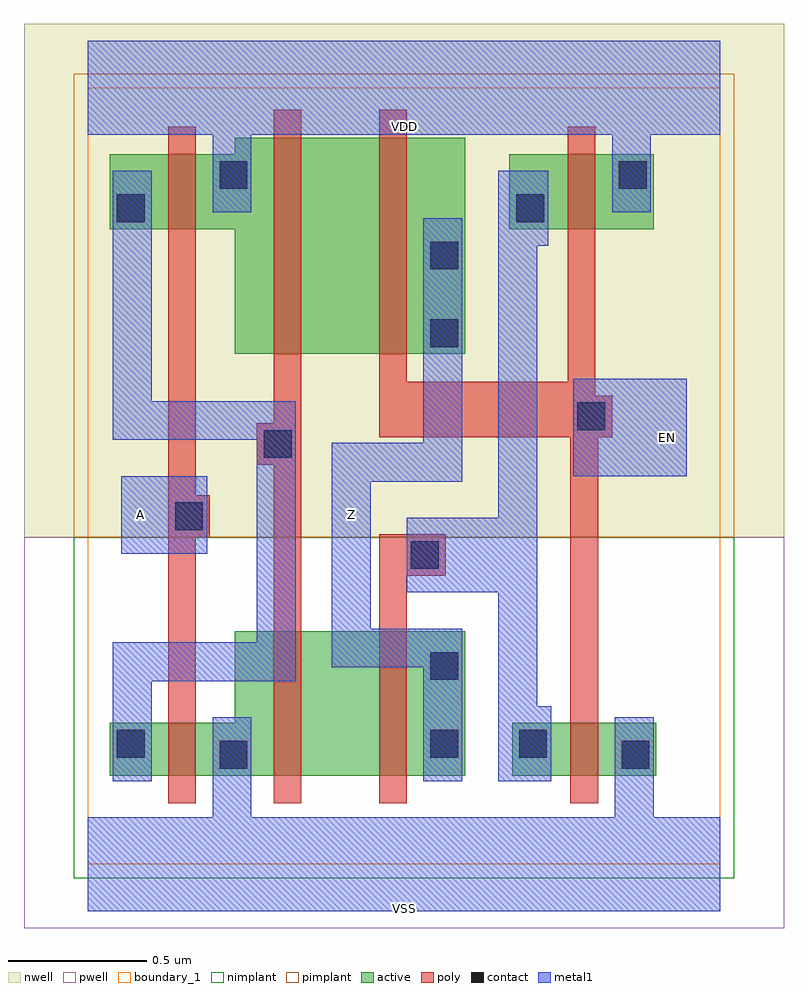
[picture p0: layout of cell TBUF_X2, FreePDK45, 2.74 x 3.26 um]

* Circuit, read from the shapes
.subckt TBUF_X2 A EN VDD VSS Z
M1 VSS A n1 VSUBS nfet w=0.19u l=0.1u
M2 n2 n1 VSS VSUBS nfet w=0.52u l=0.1u
M3 Z n3 n2 VSUBS nfet w=0.52u l=0.1u
M4 VSS EN n3 VSUBS nfet w=0.19u l=0.1u
M5 VDD A n1 n4 pfet w=0.27u l=0.1u
M6 n5 n1 VDD n4 pfet w=0.78u l=0.1u
M7 Z EN n5 n4 pfet w=0.78u l=0.1u
M8 VDD EN n3 n4 pfet w=0.27u l=0.1u
.ends

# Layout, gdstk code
import gdstk
lib = gdstk.Library(unit=1e-6, precision=1e-09)
def R(c, l, rs):  # rectangles x0, y0, x1, y1
    for r in rs: c.add(gdstk.rectangle(r[:2], r[2:], *l))
def P(c, l, *ps):  # polygons
    for p in ps: c.add(gdstk.Polygon(p, *l))
active = (1, 0)
pwell = (2, 0)
nwell = (3, 0)
nimplant = (4, 0)
pimplant = (5, 0)
poly = (9, 0)
contact = (10, 0)
metal1 = (11, 0)
boundary_1 = (235, 1)

tbuf_x2 = lib.new_cell('TBUF_X2')
R(tbuf_x2, active, [(1.53,0.32,2.05,0.51), (1.52,2.29,2.04,2.56)])
P(tbuf_x2, active, [(0.08,2.29),(0.53,2.29),(0.53,1.84),(1.36,1.84),(1.36,2.62),(0.53,2.62),(0.53,2.56),(0.08,2.56)],
  [(0.08,0.32),(1.36,0.32),(1.36,0.84),(0.53,0.84),(0.53,0.51),(0.08,0.51)])
R(tbuf_x2, pwell, [(-0.23,-0.23,2.51,1.18)])
R(tbuf_x2, nwell, [(-0.23,1.18,2.51,3.03)])
R(tbuf_x2, nimplant, [(-0.05,-0.05,2.33,1.18)])
R(tbuf_x2, pimplant, [(-0.05,1.18,2.33,2.85)])
P(tbuf_x2, poly, [(1.05,1.54),(1.74,1.54),(1.74,0.22),(1.84,0.22),(1.84,1.54),(1.89,1.54),(1.89,1.69),(1.83,1.69),(1.83,2.66),(1.73,2.66),(1.73,1.74),(1.15,1.74),(1.15,2.72),(1.05,2.72)],
  [(1.05,0.22),(1.15,0.22),(1.15,1.04),(1.29,1.04),(1.29,1.19),(1.05,1.19)],
  [(0.61,1.44),(0.67,1.44),(0.67,0.22),(0.77,0.22),(0.77,2.72),(0.67,2.72),(0.67,1.59),(0.61,1.59)],
  [(0.29,0.22),(0.39,0.22),(0.39,1.18),(0.44,1.18),(0.44,1.33),(0.39,1.33),(0.39,2.66),(0.29,2.66)])
R(tbuf_x2, contact, [(0.475,0.345,0.575,0.445), (1.925,0.345,2.025,0.445), (0.105,0.385,0.205,0.485), (1.235,0.385,1.335,0.485), (1.555,0.385,1.655,0.485), (1.235,0.665,1.335,0.765), (1.165,1.065,1.265,1.165), (0.315,1.205,0.415,1.305), (0.635,1.465,0.735,1.565), (1.765,1.565,1.865,1.665), (1.235,1.865,1.335,1.965), (1.235,2.145,1.335,2.245), (0.105,2.315,0.205,2.415), (1.545,2.315,1.645,2.415), (0.475,2.435,0.575,2.535), (1.915,2.435,2.015,2.535)])
R(tbuf_x2, metal1, [(0.12,1.12,0.43,1.4), (0.12,1.12,0.43,1.4), (1.75,1.4,2.16,1.75), (1.75,1.4,2.16,1.75)])
P(tbuf_x2, metal1, [(0,-0.17),(2.28,-0.17),(2.28,0.17),(2.04,0.17),(2.04,0.53),(1.9,0.53),(1.9,0.17),(0.59,0.17),(0.59,0.53),(0.45,0.53),(0.45,0.17),(0,0.17)],
  [(0,2.63),(0.45,2.63),(0.45,2.35),(0.59,2.35),(0.59,2.63),(1.89,2.63),(1.89,2.35),(2.03,2.35),(2.03,2.63),(2.28,2.63),(2.28,2.97),(0,2.97)],
  [(1.02,1.38),(1.35,1.38),(1.35,2.33),(1.21,2.33),(1.21,1.52),(0.88,1.52),(0.88,0.71),(1.21,0.71),(1.21,0.3),(1.35,0.3),(1.35,0.85),(1.02,0.85)],
  [(0,2.63),(0.45,2.63),(0.45,2.35),(0.59,2.35),(0.59,2.63),(1.89,2.63),(1.89,2.35),(2.03,2.35),(2.03,2.63),(2.28,2.63),(2.28,2.97),(0,2.97)],
  [(0,-0.17),(2.28,-0.17),(2.28,0.17),(2.04,0.17),(2.04,0.53),(1.9,0.53),(1.9,0.17),(0.59,0.17),(0.59,0.53),(0.45,0.53),(0.45,0.17),(0,0.17)],
  [(1.15,0.98),(1.48,0.98),(1.48,0.3),(1.67,0.3),(1.67,0.57),(1.62,0.57),(1.62,2.23),(1.66,2.23),(1.66,2.5),(1.48,2.5),(1.48,1.25),(1.15,1.25)],
  [(1.02,1.38),(1.35,1.38),(1.35,2.33),(1.21,2.33),(1.21,1.52),(0.88,1.52),(0.88,0.71),(1.21,0.71),(1.21,0.3),(1.35,0.3),(1.35,0.85),(1.02,0.85)],
  [(0.09,1.53),(0.61,1.53),(0.61,0.8),(0.09,0.8),(0.09,0.3),(0.23,0.3),(0.23,0.66),(0.75,0.66),(0.75,1.67),(0.23,1.67),(0.23,2.5),(0.09,2.5)])
R(tbuf_x2, boundary_1, [(0,0,2.28,2.8)])
tbuf_x2.add(gdstk.Label('Z', (0.95,1.26), layer=11, texttype=0))
tbuf_x2.add(gdstk.Label('VSS', (1.14,-0.16), layer=11, texttype=0))
tbuf_x2.add(gdstk.Label('VDD', (1.14,2.66), layer=11, texttype=0))
tbuf_x2.add(gdstk.Label('EN', (2.09,1.54), layer=11, texttype=0))
tbuf_x2.add(gdstk.Label('A', (0.19,1.26), layer=11, texttype=0))

lib.write_gds('TBUF_X2.gds')
